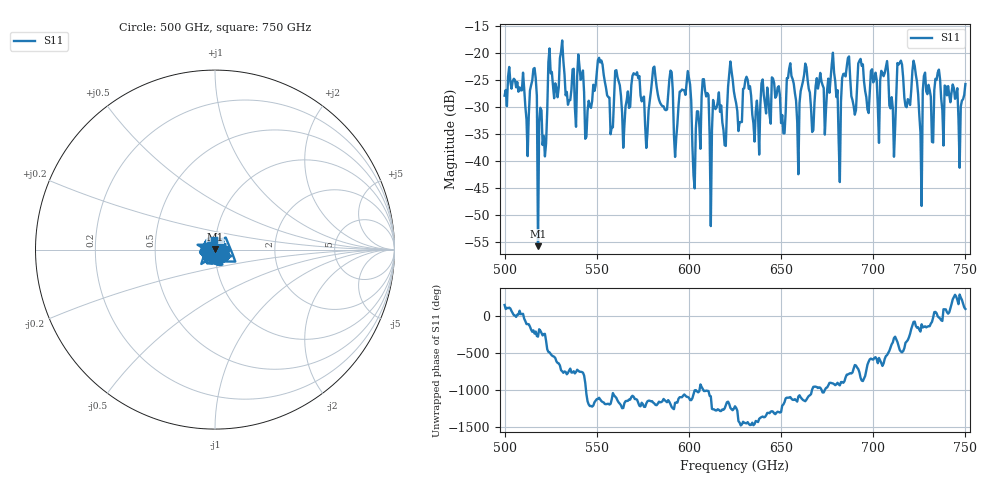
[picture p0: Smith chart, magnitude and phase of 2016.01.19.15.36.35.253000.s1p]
!Created with skrf (http://scikit-rf.org).
# GHz S RI R 50.0
!freq ReS11 ImS11
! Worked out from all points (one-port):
!   401 points, 500 GHz to 750 GHz, reference 50 ohm
!   lowest |S11| = -55.9 dB at 518.1 GHz (marker M1), VSWR 1.00, Z = 50 + j0.158 ohm
!   |S11| at or under -10 dB: start of sweep to end of sweep
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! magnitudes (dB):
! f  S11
! 500 GHz  -27.9
! 512.5 GHz  -39.1
! 515.6 GHz  -22.9
! 518.1 GHz  -55.9
! 531.2 GHz  -17.6
! 545 GHz  -30.7
! 551.9 GHz  -21.7
! 557.5 GHz  -35.1
! 562.5 GHz  -26.0
! 577.5 GHz  -34.9
! 580.6 GHz  -22.7
! 590 GHz  -23.2
! 593.8 GHz  -33.1
! 599.4 GHz  -23.3
! 603.1 GHz  -45.1
! 608.1 GHz  -24.8
! 625 GHz  -28.3
! 651.2 GHz  -34.9
! 656.2 GHz  -24.8
! 658.8 GHz  -32.8
! 678.1 GHz  -19.9
! 681.2 GHz  -36.4
! 687.5 GHz  -24.7
! 706.9 GHz  -22.5
! 710.6 GHz  -30.2
! 714.4 GHz  -21.8
! 718.8 GHz  -28.5
! 750 GHz  -25.7
